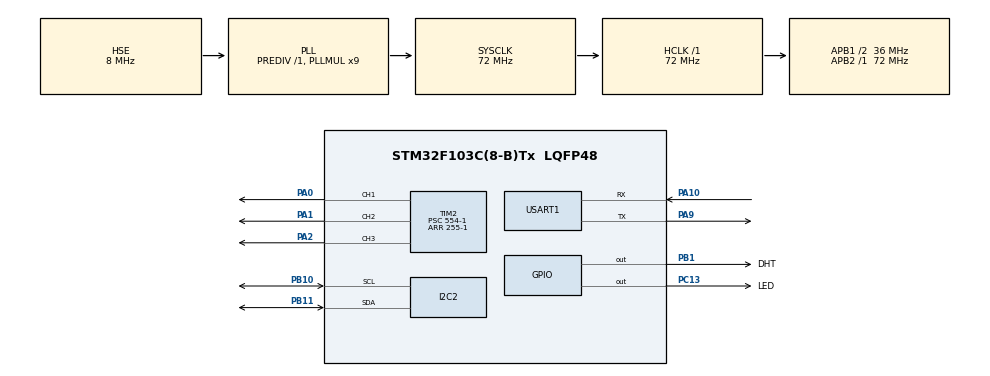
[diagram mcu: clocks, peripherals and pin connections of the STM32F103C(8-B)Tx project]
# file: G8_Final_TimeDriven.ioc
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Mcu.Family=STM32F1
Mcu.Name=STM32F103C(8-B)Tx
Mcu.Package=LQFP48
NVIC.PriorityGroup=NVIC_PRIORITYGROUP_4
NVIC.TIM1_BRK_IRQn=true\:0\:0\:false\:false\:true\:true\:true\:true
NVIC.TIM1_UP_IRQn=true\:0\:0\:false\:false\:true\:true\:true\:true
NVIC.USART1_IRQn=true\:0\:0\:false\:false\:true\:true\:true\:true
PA0-WKUP.Signal=S_TIM2_CH1_ETR
PA1.Signal=S_TIM2_CH2
PA10.Mode=Asynchronous
PA10.Signal=USART1_RX
PA2.Signal=S_TIM2_CH3
PA9.Mode=Asynchronous
PA9.Signal=USART1_TX
PB1.GPIO_Label=DHT
PB1.Signal=GPIO_Output
PB10.Mode=I2C
PB10.Signal=I2C2_SCL
PB11.Mode=I2C
PB11.Signal=I2C2_SDA
PC13-TAMPER-RTC.GPIO_Label=LED
PC13-TAMPER-RTC.Signal=GPIO_Output
PD0-OSC_IN.Mode=HSE-External-Oscillator
PD0-OSC_IN.Signal=RCC_OSC_IN
PD1-OSC_OUT.Mode=HSE-External-Oscillator
PD1-OSC_OUT.Signal=RCC_OSC_OUT
ProjectManager.HeapSize=0x200
ProjectManager.StackSize=0x400
ProjectManager.TargetToolchain=STM32CubeIDE
RCC.AHBFreq_Value=72000000
RCC.APB1CLKDivider=RCC_HCLK_DIV2
RCC.APB1Freq_Value=36000000
RCC.APB1TimFreq_Value=72000000
RCC.APB2Freq_Value=72000000
RCC.APB2TimFreq_Value=72000000
RCC.HCLKFreq_Value=72000000
RCC.PLLMUL=RCC_PLL_MUL9
RCC.PLLSourceVirtual=RCC_PLLSOURCE_HSE
RCC.SYSCLKFreq_VALUE=72000000
RCC.SYSCLKSource=RCC_SYSCLKSOURCE_PLLCLK
RCC.USBFreq_Value=72000000
SH.S_TIM2_CH1_ETR.0=TIM2_CH1,PWM Generation1 CH1
SH.S_TIM2_CH2.0=TIM2_CH2,PWM Generation2 CH2
SH.S_TIM2_CH3.0=TIM2_CH3,PWM Generation3 CH3
TIM2.Channel-PWM\ Generation1\ CH1=TIM_CHANNEL_1
TIM2.Channel-PWM\ Generation2\ CH2=TIM_CHANNEL_2
TIM2.Channel-PWM\ Generation3\ CH3=TIM_CHANNEL_3
TIM2.Period=255-1
TIM2.Prescaler=554-1
TIM4.Period=0xFFFF-1
TIM4.Prescaler=72-1
USART1.VirtualMode=VM_ASYNC
VP_TIM1_VS_ClockSourceINT.Mode=Internal
VP_TIM2_VS_ClockSourceINT.Mode=Internal
VP_TIM4_VS_ClockSourceINT.Mode=Internal
board=custom

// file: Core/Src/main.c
/* USER CODE BEGIN Header */
/**
  ******************************************************************************
  * @file           : main.c
  * @brief          : Main program body
  ******************************************************************************
  * @attention
  *
  * Copyright (c) 2023 STMicroelectronics.
  * All rights reserved.
  *
  * This software is licensed under terms that can be found in the LICENSE file
  * in the root directory of this software component.
  * If no LICENSE file comes with this software, it is provided AS-IS.
  *
  ******************************************************************************
  */
/* USER CODE END Header */
#include "main.h"

/* USER CODE BEGIN Includes */
#include <stdio.h>
#include <string.h>
#include <stdlib.h>
#include "taskQueue.h"
#include "dht11.h"
#include "rgb.h"
#include "delay_timer.h"
#include "lcd_i2c.h"
/* USER CODE END Includes */

/* USER CODE BEGIN PTD */

typedef enum
{
	DISPLAY_TEMP_HUMI,
	DISPLAY_TEMP,
	DISPLAY_HUMI,
} DisplayMode_t;

typedef enum
{
	TASK_READ_DATA,
	TASK_DISPLAY,
	TASK_SEND_TO_COM,
	TASK_CONTROL_RGB,
	TASK_HANDLE_INTERRUPT
} TaskIndex_t;

/* USER CODE END PTD */

/* USER CODE BEGIN PD */

#define MAX_RX_LEN 			13
#define RGB_COMMAND_LEN		12
#define DISPLAY_COMMAND_LEN 11
#define TIME_COMMAND_LEN 	8

/* USER CODE END PD */

I2C_HandleTypeDef hi2c2;

TIM_HandleTypeDef htim1;
TIM_HandleTypeDef htim2;
TIM_HandleTypeDef htim4;

UART_HandleTypeDef huart1;

/* USER CODE BEGIN PV */
RGB_t rgb;
DHT11_Sensor dht;
DHT11_Status dhtStatus;

LCD_I2C_Name lcd;

uint8_t red = 0, green = 0, blue = 0;
const uint32_t rgbPeriod = 500;

uint32_t P, t0;

uint8_t rxData[MAX_RX_LEN];
uint8_t rxDataIndex = 0;

DisplayMode_t DisplayMode = DISPLAY_TEMP_HUMI;

volatile uint8_t isInterrupt = 0;

/* USER CODE END PV */

void SystemClock_Config(void);
static void MX_GPIO_Init(void);
static void MX_TIM2_Init(void);
static void MX_TIM4_Init(void);
static void MX_USART1_UART_Init(void);
static void MX_I2C2_Init(void);
static void MX_TIM1_Init(void);
/* USER CODE BEGIN PFP */
void vTask_HandleInterrupt();
void vTask_ReadData();
void vTask_ControlRgb();
void vTask_Display();
void vTask_SendToCom();

/* USER CODE END PFP */

/* USER CODE BEGIN 0 */

pTaskFunction TaskArray[] = {vTask_ReadData, vTask_Display, vTask_SendToCom, vTask_ControlRgb, vTask_HandleInterrupt};

int __io_putchar(int ch)
{
	HAL_UART_Transmit(&huart1, (uint8_t *)&ch, 1, HAL_MAX_DELAY);

	return ch;
}

void vTask_HandleInterrupt()
{
	NVIC_DisableIRQ(USART1_IRQn);

	printf("vTask_HandleInterrupt IN: %ld\r\n", uwTick);

	const uint8_t* numPart;
	uint8_t buffer[5];
	printf("\n");
	switch (strlen((const char*)rxData))
	{
		case RGB_COMMAND_LEN:
			if (rxData[0] == 'r' && rxData[1] == 'g' && rxData[2] == 'b')
			{
				numPart = rxData + 3;
				for (int i = 0; i < 3; i++)
				{
					strncpy(buffer, (const char*)(numPart + i * 3), 3);
					buffer[3] = '\0'; // Null-terminate the buffer

					switch (i)
					{
						case 0: red = (uint8_t)atoi((const char*)buffer); break;
						case 1: green = (uint8_t)atoi((const char*)buffer); break;
						case 2: blue = (uint8_t)atoi((const char*)buffer); break;
					}
				}
				printf("Change RGB color:\r\n");
				printf("RED = %d\r\nGREEN = %d\r\nBLUE = %d\r\n\n", red, green, blue);
			}
			else
			{
				printf("Error Command Syntax\r\n\n");
			}
			break;
		case DISPLAY_COMMAND_LEN:
			if (strcmp((const char*)rxData, "displaytemp") == 0)
			{
				DisplayMode = DISPLAY_TEMP;
				printf("Change Display Mode to DISPLAY_TEMP\r\n\n");
			}
			else if (strcmp((const char*)rxData, "displayhumi") == 0)
			{
				DisplayMode = DISPLAY_HUMI;
				printf("Change Display Mode to DISPLAY_HUMI\r\n\n");
			}
			else if (strcmp((const char*)rxData, "displayboth") == 0)
			{
				DisplayMode = DISPLAY_TEMP_HUMI;
				printf("Change Display Mode to DISPLAY_TEMP_HUMI\r\n\n");
			}
			else
			{
				printf("Error Command Syntax\r\n\n");
			}
			break;
		case TIME_COMMAND_LEN:
			if(rxData[0] == 't' && rxData[1] == 'i' && rxData[2] == 'm' && rxData[3] == 'e')
			{
				numPart = rxData + 4;
				strncpy(buffer, (const char*)numPart, 4);
				buffer[4] = '\0'; // Null-terminate the buffer
				uint32_t old_P = P;
				P = (uint32_t)atoi((const char*)buffer);
				if (P >= 1500 && P < 10000)
				{
					printf("Change DHT11 Period from %d to %d\r\n\n", old_P, P);
				}
				else
				{
					printf("The new Period is invalid! DHT11 Period stays the same: %d\r\n\n", old_P);
					P = old_P;
				}
			}
			else
			{
				printf("Error Command Syntax\r\n\n");
			}
			break;
		default:
			printf("Error Command Syntax\r\n\n");
			break;
	}

	t0 = uwTick;
	printf("vTask_HandleInterrupt OUT: %ld\r\n\n", uwTick);

	NVIC_EnableIRQ(USART1_IRQn);

}

void HAL_UART_RxCpltCallback(UART_HandleTypeDef *huart)
{
	if (huart->Instance == huart1.Instance)
	{
		if (rxData[rxDataIndex] == '@')
		{
			rxData[rxDataIndex] = '\0';
			isInterrupt = 1;
			rxDataIndex = 0;
		}
		else
		{
			rxDataIndex ++;
		}
	}
	HAL_UART_Receive_IT(&huart1, (uint8_t*)&rxData[rxDataIndex], 1);
}

void vTask_ReadData()
{
	printf("vTask_ReadData IN: %ld\r\n", uwTick);

	NVIC_DisableIRQ(USART1_IRQn);
	dhtStatus = DHT11_GetData(&dht);
	NVIC_EnableIRQ(USART1_IRQn);

	switch(dhtStatus)
	{
		case DHT11_ERR_CHECKSUM:
			printf("DHT11 ERROR CHECKSUM\r\n");
			break;
		case DHT11_ERR_RESPONSE:
			printf("DHT11 ERROR RESPONSE\r\n");
			break;
		default:
			printf("Get Data from DHT11 successfully\r\n");
			break;
	}

	printf("vTask_ReadData OUT: %ld\r\n\n", uwTick);
}

void vTask_Display()
{
	char temp[18], humi[15];

	printf("vTask_Display IN: %ld\r\n", uwTick);

  	if (dhtStatus == DHT11_OK)
  	{
  	  	sprintf(temp, "Temp: %.2f", dht.Temp);
  	  	sprintf(humi, "Humi: %.2f", dht.Humi);

  	  	LCD_Clear(&lcd);

  	  	switch (DisplayMode)
  	  	{
  	  		case DISPLAY_TEMP:
  	  			LCD_SetCursor(&lcd, 0, 0);
  	  			LCD_WriteString(&lcd, temp);
  	  			break;
  	  		case DISPLAY_HUMI:
  	  			LCD_SetCursor(&lcd, 0, 0);
  	  			LCD_WriteString(&lcd, humi);
  	  			break;
  	  		default:
  	  			LCD_SetCursor(&lcd, 0, 0);
  	  			LCD_WriteString(&lcd, temp);
  	  			LCD_SetCursor(&lcd, 0, 1);
  	  			LCD_WriteString(&lcd, humi);
  	  			break;
  	  	}
  	}

  	printf("vTask_Display OUT: %ld\r\n\n", uwTick);
}

void vTask_ControlRgb()
{
	printf("vTask_ControlRgb IN: %ld\r\n", uwTick);

	RGB_SetValue(&rgb, red++, green++, blue++);

	printf("vTask_ControlRgb OUT: %ld\r\n\n", uwTick);
}

void vTask_SendToCom()
{
	printf("vTask_SendToCom IN: %ld\r\n", uwTick);

	if (dhtStatus == DHT11_OK)
	{
		switch (DisplayMode)
		{
			case DISPLAY_HUMI:
				printf("Humidity: %.2f\r\n", dht.Humi);
				break;
			case DISPLAY_TEMP:
				printf("Temperature: %.2f\r\n", dht.Temp);
				break;
			case DISPLAY_TEMP_HUMI:
				printf("Temperature: %.2f\r\n", dht.Temp);
				printf("Humidity: %.2f\r\n", dht.Humi);
				break;
		}
	}

	printf("vTask_SendToCom OUT: %ld\r\n\n", uwTick);
}
/* USER CODE END 0 */

int main(void)
{

  /* MCU Configuration--------------------------------------------------------*/

  /* Reset of all peripherals, Initializes the Flash interface and the Systick. */

  HAL_Init();

  /* Configure the system clock */
  SystemClock_Config();

  /* Initialize all configured peripherals */
  MX_GPIO_Init();
  MX_TIM2_Init();
  MX_TIM4_Init();
  MX_USART1_UART_Init();
  MX_I2C2_Init();
  MX_TIM1_Init();
  /* USER CODE BEGIN 2 */

  P = 2000;
  t0 = uwTick;
  uint8_t idx;

  printf("Start\r\n\n");

  DHT11_Init(&dht, DHT_GPIO_Port, DHT_Pin, &htim4);
  RGB_Init(&rgb, &htim2, TIM_CHANNEL_1, TIM_CHANNEL_2, TIM_CHANNEL_3);
  LCD_Init(&lcd, &hi2c2, LDC_DEFAULT_ADDRESS, 20, 4);

  LCD_SetCursor(&lcd, 0, 0);
  LCD_WriteString(&lcd, "Hello");

  HAL_UART_Receive_IT(&huart1, (uint8_t*)&rxData[rxDataIndex],  1);

  /* USER CODE END 2 */

  /* Infinite loop */
  while (1)
  {

    /* USER CODE BEGIN 3 */
	  if (isInterrupt)
	  {
		  TaskArray[TASK_HANDLE_INTERRUPT]();
		  isInterrupt = 0;
	  }
	  else
	  {
		  if ((uwTick - t0) % P == 0)
		  {
			  for (idx = 0; idx < 4; idx++)
			  {
				  TaskArray[idx]();
			  }
		  }
		  else if ( ((uwTick - t0) % rgbPeriod == 0) && ((uwTick - t0) % P != 0))
		  {
			  TaskArray[TASK_CONTROL_RGB]();
		  }
	  }
  }
  /* USER CODE END 3 */
}

void SystemClock_Config(void)
{
  RCC_OscInitTypeDef RCC_OscInitStruct = {0};
  RCC_ClkInitTypeDef RCC_ClkInitStruct = {0};

  /** Initializes the RCC Oscillators according to the specified parameters
  * in the RCC_OscInitTypeDef structure.
  */
  RCC_OscInitStruct.OscillatorType = RCC_OSCILLATORTYPE_HSE;
  RCC_OscInitStruct.HSEState = RCC_HSE_ON;
  RCC_OscInitStruct.HSEPredivValue = RCC_HSE_PREDIV_DIV1;
  RCC_OscInitStruct.HSIState = RCC_HSI_ON;
  RCC_OscInitStruct.PLL.PLLState = RCC_PLL_ON;
  RCC_OscInitStruct.PLL.PLLSource = RCC_PLLSOURCE_HSE;
  RCC_OscInitStruct.PLL.PLLMUL = RCC_PLL_MUL9;
  if (HAL_RCC_OscConfig(&RCC_OscInitStruct) != HAL_OK)
  {
    Error_Handler();
  }

  /** Initializes the CPU, AHB and APB buses clocks
  */
  RCC_ClkInitStruct.ClockType = RCC_CLOCKTYPE_HCLK|RCC_CLOCKTYPE_SYSCLK
                              |RCC_CLOCKTYPE_PCLK1|RCC_CLOCKTYPE_PCLK2;
  RCC_ClkInitStruct.SYSCLKSource = RCC_SYSCLKSOURCE_PLLCLK;
  RCC_ClkInitStruct.AHBCLKDivider = RCC_SYSCLK_DIV1;
  RCC_ClkInitStruct.APB1CLKDivider = RCC_HCLK_DIV2;
  RCC_ClkInitStruct.APB2CLKDivider = RCC_HCLK_DIV1;

  if (HAL_RCC_ClockConfig(&RCC_ClkInitStruct, FLASH_LATENCY_2) != HAL_OK)
  {
    Error_Handler();
  }
}

static void MX_I2C2_Init(void)
{

  hi2c2.Instance = I2C2;
  hi2c2.Init.ClockSpeed = 100000;
  hi2c2.Init.DutyCycle = I2C_DUTYCYCLE_2;
  hi2c2.Init.OwnAddress1 = 0;
  hi2c2.Init.AddressingMode = I2C_ADDRESSINGMODE_7BIT;
  hi2c2.Init.DualAddressMode = I2C_DUALADDRESS_DISABLE;
  hi2c2.Init.OwnAddress2 = 0;
  hi2c2.Init.GeneralCallMode = I2C_GENERALCALL_DISABLE;
  hi2c2.Init.NoStretchMode = I2C_NOSTRETCH_DISABLE;
  if (HAL_I2C_Init(&hi2c2) != HAL_OK)
  {
    Error_Handler();
  }

}

static void MX_TIM1_Init(void)
{

  TIM_ClockConfigTypeDef sClockSourceConfig = {0};
  TIM_MasterConfigTypeDef sMasterConfig = {0};

  htim1.Instance = TIM1;
  htim1.Init.Prescaler = 0;
  htim1.Init.CounterMode = TIM_COUNTERMODE_UP;
  htim1.Init.Period = 65535;
  htim1.Init.ClockDivision = TIM_CLOCKDIVISION_DIV1;
  htim1.Init.RepetitionCounter = 0;
  htim1.Init.AutoReloadPreload = TIM_AUTORELOAD_PRELOAD_DISABLE;
  if (HAL_TIM_Base_Init(&htim1) != HAL_OK)
  {
    Error_Handler();
  }
  sClockSourceConfig.ClockSource = TIM_CLOCKSOURCE_INTERNAL;
  if (HAL_TIM_ConfigClockSource(&htim1, &sClockSourceConfig) != HAL_OK)
  {
    Error_Handler();
  }
  sMasterConfig.MasterOutputTrigger = TIM_TRGO_RESET;
  sMasterConfig.MasterSlaveMode = TIM_MASTERSLAVEMODE_DISABLE;
  if (HAL_TIMEx_MasterConfigSynchronization(&htim1, &sMasterConfig) != HAL_OK)
  {
    Error_Handler();
  }

}

static void MX_TIM2_Init(void)
{

  TIM_ClockConfigTypeDef sClockSourceConfig = {0};
  TIM_MasterConfigTypeDef sMasterConfig = {0};
  TIM_OC_InitTypeDef sConfigOC = {0};

  htim2.Instance = TIM2;
  htim2.Init.Prescaler = 554-1;
  htim2.Init.CounterMode = TIM_COUNTERMODE_UP;
  htim2.Init.Period = 255-1;
  htim2.Init.ClockDivision = TIM_CLOCKDIVISION_DIV1;
  htim2.Init.AutoReloadPreload = TIM_AUTORELOAD_PRELOAD_DISABLE;
  if (HAL_TIM_Base_Init(&htim2) != HAL_OK)
  {
    Error_Handler();
  }
  sClockSourceConfig.ClockSource = TIM_CLOCKSOURCE_INTERNAL;
  if (HAL_TIM_ConfigClockSource(&htim2, &sClockSourceConfig) != HAL_OK)
  {
    Error_Handler();
  }
  if (HAL_TIM_PWM_Init(&htim2) != HAL_OK)
  {
    Error_Handler();
  }
  sMasterConfig.MasterOutputTrigger = TIM_TRGO_RESET;
  sMasterConfig.MasterSlaveMode = TIM_MASTERSLAVEMODE_DISABLE;
  if (HAL_TIMEx_MasterConfigSynchronization(&htim2, &sMasterConfig) != HAL_OK)
  {
    Error_Handler();
  }
  sConfigOC.OCMode = TIM_OCMODE_PWM1;
  sConfigOC.Pulse = 0;
  sConfigOC.OCPolarity = TIM_OCPOLARITY_HIGH;
  sConfigOC.OCFastMode = TIM_OCFAST_DISABLE;
  if (HAL_TIM_PWM_ConfigChannel(&htim2, &sConfigOC, TIM_CHANNEL_1) != HAL_OK)
  {
    Error_Handler();
  }
  if (HAL_TIM_PWM_ConfigChannel(&htim2, &sConfigOC, TIM_CHANNEL_2) != HAL_OK)
  {
    Error_Handler();
  }
  if (HAL_TIM_PWM_ConfigChannel(&htim2, &sConfigOC, TIM_CHANNEL_3) != HAL_OK)
  {
    Error_Handler();
  }
  HAL_TIM_MspPostInit(&htim2);

}

static void MX_TIM4_Init(void)
{

  TIM_ClockConfigTypeDef sClockSourceConfig = {0};
  TIM_MasterConfigTypeDef sMasterConfig = {0};

  htim4.Instance = TIM4;
  htim4.Init.Prescaler = 72-1;
  htim4.Init.CounterMode = TIM_COUNTERMODE_UP;
  htim4.Init.Period = 0xFFFF-1;
  htim4.Init.ClockDivision = TIM_CLOCKDIVISION_DIV1;
  htim4.Init.AutoReloadPreload = TIM_AUTORELOAD_PRELOAD_DISABLE;
  if (HAL_TIM_Base_Init(&htim4) != HAL_OK)
  {
    Error_Handler();
  }
  sClockSourceConfig.ClockSource = TIM_CLOCKSOURCE_INTERNAL;
  if (HAL_TIM_ConfigClockSource(&htim4, &sClockSourceConfig) != HAL_OK)
  {
    Error_Handler();
  }
  sMasterConfig.MasterOutputTrigger = TIM_TRGO_RESET;
  sMasterConfig.MasterSlaveMode = TIM_MASTERSLAVEMODE_DISABLE;
  if (HAL_TIMEx_MasterConfigSynchronization(&htim4, &sMasterConfig) != HAL_OK)
  {
    Error_Handler();
  }

}

static void MX_USART1_UART_Init(void)
{

  huart1.Instance = USART1;
  huart1.Init.BaudRate = 115200;
  huart1.Init.WordLength = UART_WORDLENGTH_8B;
  huart1.Init.StopBits = UART_STOPBITS_1;
  huart1.Init.Parity = UART_PARITY_NONE;
  huart1.Init.Mode = UART_MODE_TX_RX;
  huart1.Init.HwFlowCtl = UART_HWCONTROL_NONE;
  huart1.Init.OverSampling = UART_OVERSAMPLING_16;
  if (HAL_UART_Init(&huart1) != HAL_OK)
  {
    Error_Handler();
  }

}

static void MX_GPIO_Init(void)
{
  GPIO_InitTypeDef GPIO_InitStruct = {0};

  /* GPIO Ports Clock Enable */
  __HAL_RCC_GPIOC_CLK_ENABLE();
  __HAL_RCC_GPIOD_CLK_ENABLE();
  __HAL_RCC_GPIOA_CLK_ENABLE();
  __HAL_RCC_GPIOB_CLK_ENABLE();

  /*Configure GPIO pin Output Level */
  HAL_GPIO_WritePin(LED_GPIO_Port, LED_Pin, GPIO_PIN_RESET);

  /*Configure GPIO pin Output Level */
  HAL_GPIO_WritePin(DHT_GPIO_Port, DHT_Pin, GPIO_PIN_RESET);

  /*Configure GPIO pin : LED_Pin */
  GPIO_InitStruct.Pin = LED_Pin;
  GPIO_InitStruct.Mode = GPIO_MODE_OUTPUT_PP;
  GPIO_InitStruct.Pull = GPIO_NOPULL;
  GPIO_InitStruct.Speed = GPIO_SPEED_FREQ_LOW;
  HAL_GPIO_Init(LED_GPIO_Port, &GPIO_InitStruct);

  /*Configure GPIO pin : DHT_Pin */
  GPIO_InitStruct.Pin = DHT_Pin;
  GPIO_InitStruct.Mode = GPIO_MODE_OUTPUT_PP;
  GPIO_InitStruct.Pull = GPIO_NOPULL;
  GPIO_InitStruct.Speed = GPIO_SPEED_FREQ_LOW;
  HAL_GPIO_Init(DHT_GPIO_Port, &GPIO_InitStruct);

}

void Error_Handler(void)
{
  __disable_irq();
  while (1)
  {
  }
}
